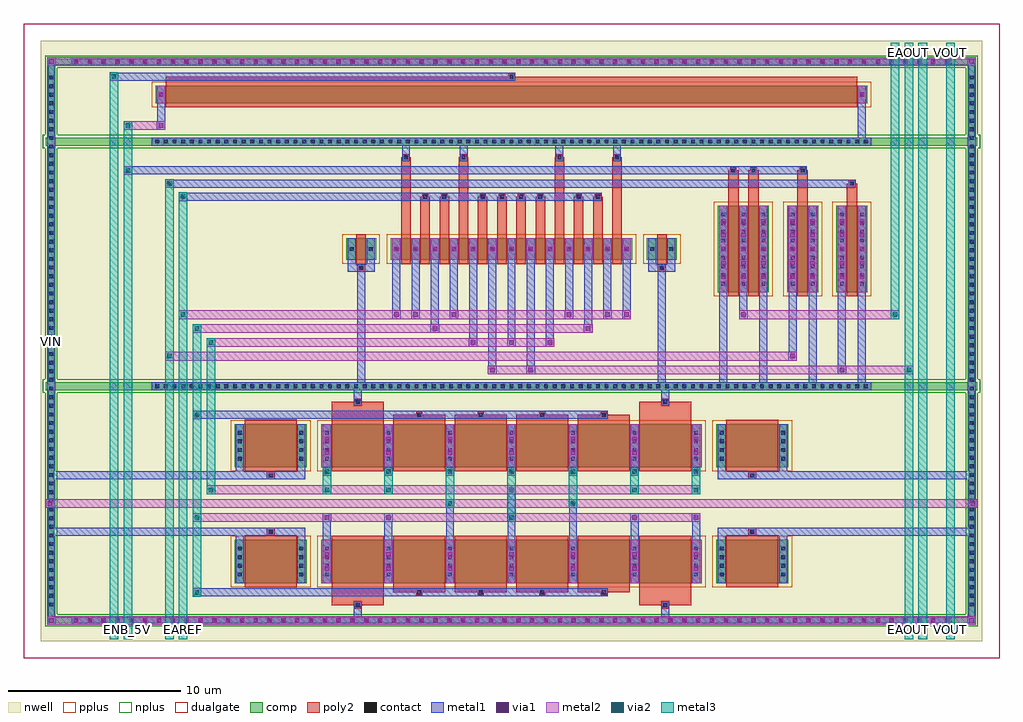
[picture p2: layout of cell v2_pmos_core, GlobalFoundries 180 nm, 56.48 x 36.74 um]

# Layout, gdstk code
import gdstk
lib = gdstk.Library(unit=1e-6, precision=1e-09)
def R(c, l, rs):  # rectangles x0, y0, x1, y1
    for r in rs: c.add(gdstk.rectangle(r[:2], r[2:], *l))
def A(c, l, x, y, w, h, nx, ny, dx, dy):  # array of equal rectangles
    R(c, l, [(x+i*dx, y+j*dy, x+i*dx+w, y+j*dy+h) for i in range(nx) for j in range(ny)])
def P(c, l, *ps):  # polygons
    for p in ps: c.add(gdstk.Polygon(p, *l))
nwell = (21, 0)
comp = (22, 0)
poly2 = (30, 0)
pplus = (31, 0)
nplus = (32, 0)
contact = (33, 0)
metal1 = (34, 0)
via1 = (35, 0)
metal2 = (36, 0)
via2 = (38, 0)
metal3 = (42, 0)
dualgate = (55, 0)

v2_pmos_core = lib.new_cell('v2_pmos_core')
R(v2_pmos_core, nwell, [(-27.24,-1.39,27.24,33.35), (-26.94,-0.485,26.94,32.445)])
A(v2_pmos_core, comp, -25.38, -0.365, 0.36, 0.36, 64, 2, 0.8, 32.33)
A(v2_pmos_core, comp, -26.82, 0.55, 0.36, 0.36, 1, 62, 0, 0.5)
A(v2_pmos_core, comp, 26.46, 0.55, 0.36, 0.36, 1, 62, 0, 0.5)
A(v2_pmos_core, comp, -20.68, 13.19, 0.36, 0.36, 83, 2, 0.5, 14.15)
R(v2_pmos_core, comp, [(-25.38,-0.365,25.38,-0.005), (-26.82,0.55,-26.46,31.41), (26.46,0.55,26.82,31.41), (-16.02,1.97,-11.86,4.47), (-11,1.97,11,4.47), (11.86,1.97,16.02,4.47), (-16.02,8.67,-11.86,11.17), (-11,8.67,11,11.17), (11.86,8.67,16.02,11.17), (-26.96,13.14,26.96,13.6), (-20.83,13.14,20.83,13.6), (-20.68,13.19,20.68,13.55), (11.94,18.8,14.9,23.8), (15.95,18.8,17.75,23.8), (18.8,18.8,20.6,23.8), (-9.55,20.675,-7.84,21.925), (-6.98,20.675,6.98,21.925), (7.84,20.675,9.55,21.925), (-26.96,27.29,26.96,27.75), (-20.83,27.29,20.83,27.75), (-20.68,27.34,20.68,27.7), (-20.6,29.75,20.6,30.75), (-25.38,31.965,25.38,32.325)])
P(v2_pmos_core, comp, [(-26.82,-0.365),(-26.82,-0.005),(-26.46,-0.005),(26.46,-0.005),(26.46,31.965),(-26.46,31.965),(-26.46,-0.005),(-26.82,-0.005),(-26.82,32.325),(26.82,32.325),(26.82,-0.365)])
A(v2_pmos_core, poly2, -5.52, 1.26, 0.36, 0.36, 4, 2, 3.56, 10.26)
A(v2_pmos_core, poly2, -6.84, 1.44, 3, 0.29, 4, 2, 3.56, 9.97)
A(v2_pmos_core, poly2, -10.4, 1.73, 3, 2.98, 6, 2, 3.56, 6.7)
A(v2_pmos_core, poly2, 13.7, 18.56, 0.6, 5.48, 3, 1, 2.85, 0)
A(v2_pmos_core, poly2, -6.38, 20.435, 0.55, 1.73, 12, 1, 1.11, 0)
A(v2_pmos_core, poly2, -1.94, 22.165, 0.55, 2.165, 4, 1, 1.11, 0)
A(v2_pmos_core, poly2, -1.845, 24.15, 0.36, 0.36, 4, 1, 1.11, 0)
R(v2_pmos_core, poly2, [(-9.08,0.5,-8.72,0.86), (8.72,0.5,9.08,0.86), (-10.4,0.68,-7.4,1.73), (7.4,0.68,10.4,1.73), (-15.44,1.73,-12.44,4.71), (12.44,1.73,15.44,4.71), (-14.17,4.71,-13.71,5.17), (13.71,4.71,14.17,5.17), (-14.12,4.76,-13.76,5.12), (13.76,4.76,14.12,5.12), (-14.17,7.97,-13.71,8.43), (13.71,7.97,14.17,8.43), (-14.12,8.02,-13.76,8.38), (13.76,8.02,14.12,8.38), (-15.44,8.43,-12.44,11.41), (12.44,8.43,15.44,11.41), (-10.4,11.41,-7.4,12.46), (7.4,11.41,10.4,12.46), (-9.08,12.28,-8.72,12.64), (8.72,12.28,9.08,12.64), (12.54,18.56,13.14,24.04), (-8.925,19.975,-8.465,20.435), (8.465,19.975,8.925,20.435), (-8.875,20.025,-8.515,20.385), (8.515,20.025,8.875,20.385), (-8.97,20.435,-8.42,22.165), (8.42,20.435,8.97,22.165), (-6.38,22.165,-5.83,26.61), (-5.27,22.165,-4.72,24.33), (-4.16,22.165,-3.61,24.33), (-3.05,22.165,-2.5,26.61), (2.5,22.165,3.05,26.61), (3.61,22.165,4.16,24.33), (4.72,22.165,5.27,24.33), (5.83,22.165,6.38,26.61), (12.54,24.04,13.14,25.85), (13.7,24.04,14.3,25.85), (16.55,24.04,17.15,25.85), (19.4,24.04,20,25.09), (-5.175,24.15,-4.815,24.51), (-4.065,24.15,-3.705,24.51), (3.705,24.15,4.065,24.51), (4.815,24.15,5.175,24.51), (19.52,24.91,19.88,25.27), (12.66,25.67,13.02,26.03), (13.82,25.67,14.18,26.03), (16.67,25.67,17.03,26.03), (-6.285,26.43,-5.925,26.79), (-2.955,26.43,-2.595,26.79), (2.595,26.43,2.955,26.79), (5.925,26.43,6.285,26.79), (-20,29.51,20,30.99), (-20,30.99,20,31.28), (-0.18,31.1,0.18,31.46)])
R(v2_pmos_core, pplus, [(-16.25,1.74,-11.63,4.7), (-11.23,1.74,11.23,4.7), (11.63,1.74,16.25,4.7), (-16.25,8.44,-11.63,11.4), (-11.23,8.44,11.23,11.4), (11.63,8.44,16.25,11.4), (11.71,18.57,15.13,24.03), (15.72,18.57,17.98,24.03), (18.57,18.57,20.83,24.03), (-9.78,20.445,-7.61,22.155), (-7.21,20.445,7.21,22.155), (7.61,20.445,9.78,22.155), (-20.83,29.52,20.83,30.98)])
R(v2_pmos_core, nplus, [(-27.12,12.98,27.12,13.76), (-20.99,12.98,20.99,13.76), (-27.12,27.13,27.12,27.91), (-20.99,27.13,20.99,27.91)])
P(v2_pmos_core, nplus, [(-26.98,-0.525),(-26.98,0.155),(-26.3,0.155),(26.3,0.155),(26.3,31.805),(-26.3,31.805),(-26.3,0.155),(-26.98,0.155),(-26.98,32.485),(26.98,32.485),(26.98,-0.525)])
A(v2_pmos_core, contact, -25.31, -0.295, 0.22, 0.22, 64, 2, 0.8, 32.33)
A(v2_pmos_core, contact, -26.75, 0.62, 0.22, 0.22, 1, 62, 0, 0.5)
A(v2_pmos_core, contact, 26.53, 0.62, 0.22, 0.22, 1, 62, 0, 0.5)
A(v2_pmos_core, contact, -5.45, 1.33, 0.22, 0.22, 4, 2, 3.56, 10.26)
A(v2_pmos_core, contact, -15.83, 2.36, 0.22, 0.22, 1, 4, 0, 0.5)
A(v2_pmos_core, contact, -12.27, 2.36, 0.22, 0.22, 1, 4, 0, 0.5)
A(v2_pmos_core, contact, -10.79, 2.36, 0.22, 0.22, 7, 4, 3.56, 0.5)
A(v2_pmos_core, contact, 12.05, 2.36, 0.22, 0.22, 1, 4, 0, 0.5)
A(v2_pmos_core, contact, 15.61, 2.36, 0.22, 0.22, 1, 4, 0, 0.5)
A(v2_pmos_core, contact, -15.83, 9.06, 0.22, 0.22, 1, 4, 0, 0.5)
A(v2_pmos_core, contact, -12.27, 9.06, 0.22, 0.22, 1, 4, 0, 0.5)
A(v2_pmos_core, contact, -10.79, 9.06, 0.22, 0.22, 7, 4, 3.56, 0.5)
A(v2_pmos_core, contact, 12.05, 9.06, 0.22, 0.22, 1, 4, 0, 0.5)
A(v2_pmos_core, contact, 15.61, 9.06, 0.22, 0.22, 1, 4, 0, 0.5)
A(v2_pmos_core, contact, -20.61, 13.26, 0.22, 0.22, 83, 2, 0.5, 14.15)
A(v2_pmos_core, contact, 12.15, 19.19, 0.22, 0.22, 3, 9, 1.16, 0.5)
A(v2_pmos_core, contact, 16.16, 19.19, 0.22, 0.22, 1, 9, 0, 0.5)
A(v2_pmos_core, contact, 17.32, 19.19, 0.22, 0.22, 1, 9, 0, 0.5)
A(v2_pmos_core, contact, 19.01, 19.19, 0.22, 0.22, 1, 9, 0, 0.5)
A(v2_pmos_core, contact, 20.17, 19.19, 0.22, 0.22, 1, 9, 0, 0.5)
A(v2_pmos_core, contact, -6.77, 21.19, 0.22, 0.22, 13, 1, 1.11, 0)
A(v2_pmos_core, contact, -1.775, 24.22, 0.22, 0.22, 4, 1, 1.11, 0)
R(v2_pmos_core, contact, [(-9.01,0.57,-8.79,0.79), (8.79,0.57,9.01,0.79), (-14.05,4.83,-13.83,5.05), (13.83,4.83,14.05,5.05), (-14.05,8.09,-13.83,8.31), (13.83,8.09,14.05,8.31), (-9.01,12.35,-8.79,12.57), (8.79,12.35,9.01,12.57), (-8.805,20.095,-8.585,20.315), (8.585,20.095,8.805,20.315), (-9.36,21.19,-9.14,21.41), (-8.25,21.19,-8.03,21.41), (8.03,21.19,8.25,21.41), (9.14,21.19,9.36,21.41), (-5.105,24.22,-4.885,24.44), (-3.995,24.22,-3.775,24.44), (3.775,24.22,3.995,24.44), (4.885,24.22,5.105,24.44), (19.59,24.98,19.81,25.2), (12.73,25.74,12.95,25.96), (13.89,25.74,14.11,25.96), (16.74,25.74,16.96,25.96), (-6.215,26.5,-5.995,26.72), (-2.885,26.5,-2.665,26.72), (2.665,26.5,2.885,26.72), (5.995,26.5,6.215,26.72), (-20.39,30.14,-20.17,30.36), (20.17,30.14,20.39,30.36), (-0.11,31.17,0.11,31.39)])
A(v2_pmos_core, metal1, -25.45, -0.435, 0.5, 0.5, 64, 2, 0.8, 32.33)
A(v2_pmos_core, metal1, -26.87, 0.5, 0.46, 0.46, 1, 62, 0, 0.5)
A(v2_pmos_core, metal1, 26.41, 0.5, 0.46, 0.46, 1, 62, 0, 0.5)
A(v2_pmos_core, metal1, -5.57, 1.21, 0.46, 0.46, 4, 2, 3.56, 10.26)
A(v2_pmos_core, metal1, -10.91, 1.97, 0.46, 2.5, 7, 2, 3.56, 6.7)
A(v2_pmos_core, metal1, -15.95, 2.24, 0.46, 0.46, 1, 4, 0, 0.5)
A(v2_pmos_core, metal1, -12.39, 2.24, 0.46, 0.46, 1, 4, 0, 0.5)
A(v2_pmos_core, metal1, -10.91, 2.24, 0.46, 0.46, 7, 4, 3.56, 0.5)
A(v2_pmos_core, metal1, 11.93, 2.24, 0.46, 0.46, 1, 4, 0, 0.5)
A(v2_pmos_core, metal1, 15.49, 2.24, 0.46, 0.46, 1, 4, 0, 0.5)
A(v2_pmos_core, metal1, -10.93, 2.57, 0.5, 0.5, 7, 2, 3.56, 0.8)
A(v2_pmos_core, metal1, -10.93, 2.57, 0.5, 1.3, 7, 2, 3.56, 6.7)
A(v2_pmos_core, metal1, -10.93, 8.17, 0.5, 0.5, 7, 2, 3.56, 1.1)
A(v2_pmos_core, metal1, -15.95, 8.94, 0.46, 0.46, 1, 4, 0, 0.5)
A(v2_pmos_core, metal1, -12.39, 8.94, 0.46, 0.46, 1, 4, 0, 0.5)
A(v2_pmos_core, metal1, -10.91, 8.94, 0.46, 0.46, 7, 4, 3.56, 0.5)
A(v2_pmos_core, metal1, 11.93, 8.94, 0.46, 0.46, 1, 4, 0, 0.5)
A(v2_pmos_core, metal1, 15.49, 8.94, 0.46, 0.46, 1, 4, 0, 0.5)
A(v2_pmos_core, metal1, -10.93, 10.07, 0.5, 0.5, 7, 1, 3.56, 0)
A(v2_pmos_core, metal1, -20.73, 13.14, 0.46, 0.46, 83, 2, 0.5, 14.15)
A(v2_pmos_core, metal1, 14.35, 13.37, 0.46, 5.43, 3, 1, 2.85, 0)
A(v2_pmos_core, metal1, -2.47, 15.65, 0.5, 0.5, 3, 1, 2.22, 0)
A(v2_pmos_core, metal1, -2.45, 15.9, 0.46, 4.775, 3, 1, 2.22, 0)
A(v2_pmos_core, metal1, 12.03, 18.8, 0.46, 5, 3, 1, 1.16, 0)
A(v2_pmos_core, metal1, 12.03, 19.07, 0.46, 0.46, 3, 9, 1.16, 0.5)
A(v2_pmos_core, metal1, 16.04, 19.07, 0.46, 0.46, 1, 9, 0, 0.5)
A(v2_pmos_core, metal1, 17.2, 19.07, 0.46, 0.46, 1, 9, 0, 0.5)
A(v2_pmos_core, metal1, 18.89, 19.07, 0.46, 0.46, 1, 9, 0, 0.5)
A(v2_pmos_core, metal1, 20.05, 19.07, 0.46, 0.46, 1, 9, 0, 0.5)
A(v2_pmos_core, metal1, 12.01, 19.45, 0.5, 0.5, 3, 5, 1.16, 0.8)
A(v2_pmos_core, metal1, 12.01, 19.45, 0.5, 3.7, 3, 1, 1.16, 0)
A(v2_pmos_core, metal1, 16.02, 19.45, 0.5, 0.5, 1, 5, 0, 0.8)
A(v2_pmos_core, metal1, 17.18, 19.45, 0.5, 0.5, 1, 5, 0, 0.8)
A(v2_pmos_core, metal1, 18.87, 19.45, 0.5, 0.5, 1, 5, 0, 0.8)
A(v2_pmos_core, metal1, 20.03, 19.45, 0.5, 0.5, 1, 5, 0, 0.8)
A(v2_pmos_core, metal1, -6.89, 20.675, 0.46, 1.25, 13, 1, 1.11, 0)
A(v2_pmos_core, metal1, -6.89, 21.07, 0.46, 0.46, 13, 1, 1.11, 0)
A(v2_pmos_core, metal1, -1.895, 24.1, 0.46, 0.46, 4, 1, 1.11, 0)
R(v2_pmos_core, metal1, [(-26.87,-0.435,-26.37,0.065), (-26.87,-0.435,-26.37,0.065), (-26.87,-0.435,-26.41,-0.005), (-25.45,-0.435,25.45,0.065), (26.37,-0.435,26.87,0.065), (26.37,-0.435,26.87,0.065), (26.41,-0.435,26.87,-0.005), (-9.13,-0.25,-8.67,0.68), (8.67,-0.25,9.13,0.68), (-26.87,-0.005,-26.41,31.965), (26.41,-0.005,26.87,31.965), (-9.13,0.45,-8.67,0.91), (8.67,0.45,9.13,0.91), (-18.45,1.19,-17.95,1.69), (-18.43,1.21,5.57,1.67), (-15.95,1.97,-15.49,4.47), (-12.39,1.97,-11.93,4.47), (11.93,1.97,12.39,4.47), (15.49,1.97,15.95,4.47), (-15.95,4.47,-15.49,5.17), (-12.39,4.47,-11.93,5.17), (-10.91,4.47,-10.45,5.77), (-7.35,4.47,-6.89,5.77), (-3.79,4.47,-3.33,6.57), (-0.23,4.47,0.23,7.37), (3.33,4.47,3.79,6.57), (6.89,4.47,7.35,5.77), (10.45,4.47,10.91,5.77), (11.93,4.47,12.39,5.17), (15.49,4.47,15.95,5.17), (-26.71,4.71,-13.71,5.17), (-15.95,4.71,-14.17,5.17), (-14.17,4.71,-13.71,5.17), (-13.71,4.71,-11.93,5.17), (11.93,4.71,13.71,5.17), (13.71,4.71,14.17,5.17), (13.71,4.71,26.71,5.17), (14.17,4.71,15.95,5.17), (-10.93,5.52,-10.43,6.02), (-7.37,5.52,-6.87,6.02), (6.87,5.52,7.37,6.02), (10.43,5.52,10.93,6.02), (-26.96,6.32,-26.46,6.82), (-3.81,6.32,-3.31,6.82), (3.31,6.32,3.81,6.82), (26.46,6.32,26.96,6.82), (-0.25,7.12,0.25,7.62), (-26.71,7.97,-13.71,8.43), (-15.95,7.97,-15.49,8.67), (-15.95,7.97,-14.17,8.43), (-14.17,7.97,-13.71,8.43), (-13.71,7.97,-11.93,8.43), (-12.39,7.97,-11.93,8.67), (11.93,7.97,12.39,8.67), (11.93,7.97,13.71,8.43), (13.71,7.97,14.17,8.43), (13.71,7.97,26.71,8.43), (14.17,7.97,15.95,8.43), (15.49,7.97,15.95,8.67), (-15.95,8.67,-15.49,11.17), (-12.39,8.67,-11.93,11.17), (11.93,8.67,12.39,11.17), (15.49,8.67,15.95,11.17), (-18.45,11.45,-17.95,11.95), (-18.43,11.47,5.57,11.93), (-9.13,12.23,-8.67,12.69), (8.67,12.23,9.13,12.69), (-9.13,12.46,-8.67,13.37), (8.67,12.46,9.13,13.37), (-20.83,13.14,20.83,13.6), (-8.925,13.37,-8.465,19.975), (8.465,13.37,8.925,19.975), (12.03,13.37,12.49,18.8), (-1.36,14.05,-0.86,14.55), (0.86,14.05,1.36,14.55), (18.87,14.05,19.37,14.55), (-1.34,14.3,-0.88,20.675), (0.88,14.3,1.34,20.675), (18.89,14.3,19.35,18.8), (16.02,14.85,16.52,15.35), (16.04,15.1,16.5,18.8), (-4.69,16.45,-4.19,16.95), (4.19,16.45,4.69,16.95), (-4.67,16.7,-4.21,20.675), (4.21,16.7,4.67,20.675), (-6.91,17.25,-6.41,17.75), (-5.8,17.25,-5.3,17.75), (-3.58,17.25,-3.08,17.75), (3.08,17.25,3.58,17.75), (5.3,17.25,5.8,17.75), (6.41,17.25,6.91,17.75), (13.17,17.25,13.67,17.75), (-6.89,17.5,-6.43,20.675), (-5.78,17.5,-5.32,20.675), (-3.56,17.5,-3.1,20.675), (3.1,17.5,3.56,20.675), (5.32,17.5,5.78,20.675), (6.43,17.5,6.89,20.675), (13.19,17.5,13.65,18.8), (16.04,18.8,16.5,23.8), (17.2,18.8,17.66,23.8), (18.89,18.8,19.35,23.8), (20.05,18.8,20.51,23.8), (16.02,19.45,16.52,23.15), (17.18,19.45,17.68,23.15), (18.87,19.45,19.37,23.15), (20.03,19.45,20.53,23.15), (-9.48,19.975,-8.925,20.435), (-9.48,19.975,-9.02,20.675), (-8.925,19.975,-8.465,20.435), (-8.465,19.975,-7.91,20.435), (-8.37,19.975,-7.91,20.675), (7.91,19.975,8.465,20.435), (7.91,19.975,8.37,20.675), (8.465,19.975,8.925,20.435), (8.925,19.975,9.48,20.435), (9.02,19.975,9.48,20.675), (-9.48,20.675,-9.02,21.925), (-8.37,20.675,-7.91,21.925), (7.91,20.675,8.37,21.925), (9.02,20.675,9.48,21.925), (-6.91,21.05,-6.41,21.55), (-6.91,21.05,-6.41,21.55), (-5.8,21.05,-5.3,21.55), (-5.8,21.05,-5.3,21.55), (-4.69,21.05,-4.19,21.55), (-4.69,21.05,-4.19,21.55), (-3.58,21.05,-3.08,21.55), (-3.58,21.05,-3.08,21.55), (-2.47,21.05,-1.97,21.55), (-2.47,21.05,-1.97,21.55), (-1.36,21.05,-0.86,21.55), (-1.36,21.05,-0.86,21.55), (-0.25,21.05,0.25,21.55), (-0.25,21.05,0.25,21.55), (0.86,21.05,1.36,21.55), (0.86,21.05,1.36,21.55), (1.97,21.05,2.47,21.55), (1.97,21.05,2.47,21.55), (3.08,21.05,3.58,21.55), (3.08,21.05,3.58,21.55), (4.19,21.05,4.69,21.55), (4.19,21.05,4.69,21.55), (5.3,21.05,5.8,21.55), (5.3,21.05,5.8,21.55), (6.41,21.05,6.91,21.55), (6.41,21.05,6.91,21.55), (-9.48,21.07,-9.02,21.53), (-8.37,21.07,-7.91,21.53), (7.91,21.07,8.37,21.53), (9.02,21.07,9.48,21.53), (-19.25,24.08,-18.75,24.58), (-19.23,24.1,5.225,24.56), (-5.225,24.1,-4.765,24.56), (-4.115,24.1,-3.655,24.56), (3.655,24.1,4.115,24.56), (4.765,24.1,5.225,24.56), (-20.05,24.84,-19.55,25.34), (-20.03,24.86,19.93,25.32), (19.47,24.86,19.93,25.32), (-22.45,25.6,-21.95,26.1), (-22.43,25.62,17.08,26.08), (12.61,25.62,13.07,26.08), (13.77,25.62,14.23,26.08), (16.62,25.62,17.08,26.08), (-6.335,26.38,-5.875,26.84), (-3.005,26.38,-2.545,26.84), (2.545,26.38,3.005,26.84), (5.875,26.38,6.335,26.84), (-6.335,26.61,-5.875,27.52), (-3.005,26.61,-2.545,27.52), (2.545,26.61,3.005,27.52), (5.875,26.61,6.335,27.52), (-20.83,27.29,20.83,27.75), (20.05,27.52,20.51,29.75), (-20.53,28.2,-20.03,28.7), (-20.51,28.45,-20.05,29.75), (-20.51,29.75,-20.05,30.75), (20.05,29.75,20.51,30.75), (-20.53,30,-20.03,30.5), (-20.53,30,-20.03,30.5), (20.03,30,20.53,30.5), (20.03,30,20.53,30.5), (-20.51,30.02,-20.05,30.48), (20.05,30.02,20.51,30.48), (-23.25,31.03,-22.75,31.53), (-23.23,31.05,0.23,31.51), (-0.23,31.05,0.23,31.51), (-26.87,31.895,-26.37,32.395), (-26.87,31.895,-26.37,32.395), (-25.45,31.895,25.45,32.395), (26.37,31.895,26.87,32.395), (26.37,31.895,26.87,32.395), (-26.87,31.965,-26.41,32.395), (26.41,31.965,26.87,32.395)])
A(v2_pmos_core, via1, -25.33, -0.315, 0.26, 0.26, 64, 2, 0.8, 32.33)
A(v2_pmos_core, via1, -10.81, 2.69, 0.26, 0.26, 7, 2, 3.56, 0.8)
A(v2_pmos_core, via1, -10.81, 8.29, 0.26, 0.26, 7, 2, 3.56, 1.1)
A(v2_pmos_core, via1, -10.81, 10.19, 0.26, 0.26, 7, 1, 3.56, 0)
A(v2_pmos_core, via1, -2.35, 15.77, 0.26, 0.26, 3, 1, 2.22, 0)
A(v2_pmos_core, via1, 12.13, 19.57, 0.26, 0.26, 3, 5, 1.16, 0.8)
A(v2_pmos_core, via1, 16.14, 19.57, 0.26, 0.26, 1, 5, 0, 0.8)
A(v2_pmos_core, via1, 17.3, 19.57, 0.26, 0.26, 1, 5, 0, 0.8)
A(v2_pmos_core, via1, 18.99, 19.57, 0.26, 0.26, 1, 5, 0, 0.8)
A(v2_pmos_core, via1, 20.15, 19.57, 0.26, 0.26, 1, 5, 0, 0.8)
A(v2_pmos_core, via1, -6.79, 21.17, 0.26, 0.26, 13, 1, 1.11, 0)
R(v2_pmos_core, via1, [(-26.75,-0.315,-26.49,-0.055), (26.49,-0.315,26.75,-0.055), (-18.33,1.31,-18.07,1.57), (-10.81,5.64,-10.55,5.9), (-7.25,5.64,-6.99,5.9), (6.99,5.64,7.25,5.9), (10.55,5.64,10.81,5.9), (-26.84,6.44,-26.58,6.7), (-3.69,6.44,-3.43,6.7), (3.43,6.44,3.69,6.7), (26.58,6.44,26.84,6.7), (-0.13,7.24,0.13,7.5), (-18.33,11.57,-18.07,11.83), (-1.24,14.17,-0.98,14.43), (0.98,14.17,1.24,14.43), (18.99,14.17,19.25,14.43), (16.14,14.97,16.4,15.23), (-4.57,16.57,-4.31,16.83), (4.31,16.57,4.57,16.83), (-6.79,17.37,-6.53,17.63), (-5.68,17.37,-5.42,17.63), (-3.46,17.37,-3.2,17.63), (3.2,17.37,3.46,17.63), (5.42,17.37,5.68,17.63), (6.53,17.37,6.79,17.63), (13.29,17.37,13.55,17.63), (-19.13,24.2,-18.87,24.46), (-19.93,24.96,-19.67,25.22), (-22.33,25.72,-22.07,25.98), (-20.41,28.32,-20.15,28.58), (-20.41,30.12,-20.15,30.38), (20.15,30.12,20.41,30.38), (-23.13,31.15,-22.87,31.41), (-26.75,32.015,-26.49,32.275), (26.49,32.015,26.75,32.275)])
A(v2_pmos_core, metal2, -25.45, -0.435, 0.5, 0.5, 64, 2, 0.8, 32.33)
A(v2_pmos_core, metal2, -10.93, 1.97, 0.5, 2.5, 7, 2, 3.56, 6.7)
A(v2_pmos_core, metal2, -10.93, 2.57, 0.5, 0.5, 7, 2, 3.56, 0.8)
A(v2_pmos_core, metal2, -7.37, 5.52, 0.5, 0.5, 3, 2, 7.12, 1.6)
A(v2_pmos_core, metal2, -10.93, 8.17, 0.5, 0.5, 7, 2, 3.56, 1.1)
A(v2_pmos_core, metal2, -10.93, 10.07, 0.5, 0.5, 7, 1, 3.56, 0)
A(v2_pmos_core, metal2, -2.47, 15.65, 0.5, 0.5, 3, 1, 2.22, 0)
A(v2_pmos_core, metal2, 12.01, 18.8, 0.5, 5, 3, 1, 1.16, 0)
A(v2_pmos_core, metal2, 12.01, 19.45, 0.5, 0.5, 3, 5, 1.16, 0.8)
A(v2_pmos_core, metal2, 16.02, 19.45, 0.5, 0.5, 1, 5, 0, 0.8)
A(v2_pmos_core, metal2, 17.18, 19.45, 0.5, 0.5, 1, 5, 0, 0.8)
A(v2_pmos_core, metal2, 18.87, 19.45, 0.5, 0.5, 1, 5, 0, 0.8)
A(v2_pmos_core, metal2, 20.03, 19.45, 0.5, 0.5, 1, 5, 0, 0.8)
A(v2_pmos_core, metal2, -6.91, 20.675, 0.5, 1.25, 13, 1, 1.11, 0)
A(v2_pmos_core, metal2, -6.91, 21.05, 0.5, 0.5, 13, 1, 1.11, 0)
R(v2_pmos_core, metal2, [(-26.87,-0.435,-26.37,0.065), (-26.87,-0.435,-26.37,0.065), (-26.87,-0.435,-26.46,0.065), (-26.46,-0.435,26.46,0.065), (26.37,-0.435,26.87,0.065), (26.37,-0.435,26.87,0.065), (26.46,-0.435,26.87,0.065), (-18.45,1.19,-17.95,1.69), (-18.45,5.52,10.93,6.02), (-18.45,5.52,-17.95,6.02), (-10.93,5.52,-10.43,6.02), (10.43,5.52,10.93,6.02), (-26.96,6.32,26.96,6.82), (-26.96,6.32,-26.46,6.82), (-3.81,6.32,-3.31,6.82), (-3.81,6.32,-3.31,6.82), (3.31,6.32,3.81,6.82), (3.31,6.32,3.81,6.82), (26.46,6.32,26.96,6.82), (-17.65,7.12,10.93,7.62), (-17.65,7.12,-17.15,7.62), (-10.93,7.12,-10.43,7.62), (10.43,7.12,10.93,7.62), (-18.45,11.45,-17.95,11.95), (-1.36,14.05,23.25,14.55), (-1.36,14.05,-0.86,14.55), (0.86,14.05,1.36,14.55), (18.87,14.05,19.37,14.55), (22.75,14.05,23.25,14.55), (-20.05,14.85,16.52,15.35), (-20.05,14.85,-19.55,15.35), (16.02,14.85,16.52,15.35), (-17.65,15.65,2.47,16.15), (-17.65,15.65,-17.15,16.15), (-18.45,16.45,4.69,16.95), (-18.45,16.45,-17.95,16.95), (-4.69,16.45,-4.19,16.95), (4.19,16.45,4.69,16.95), (-19.25,17.25,6.91,17.75), (-19.25,17.25,-18.75,17.75), (-6.91,17.25,-6.41,17.75), (-5.8,17.25,-5.3,17.75), (-3.58,17.25,-3.08,17.75), (3.08,17.25,3.58,17.75), (5.3,17.25,5.8,17.75), (6.41,17.25,6.91,17.75), (13.17,17.25,13.67,17.75), (13.17,17.25,22.45,17.75), (21.95,17.25,22.45,17.75), (16.02,18.8,16.52,23.8), (17.18,18.8,17.68,23.8), (18.87,18.8,19.37,23.8), (20.03,18.8,20.53,23.8), (-19.25,24.08,-18.75,24.58), (-20.05,24.84,-19.55,25.34), (-22.45,25.6,-21.95,26.1), (-22.45,28.2,-21.95,28.7), (-22.45,28.2,-20.03,28.7), (-20.53,28.2,-20.03,28.7), (-20.53,29.75,-20.03,30.75), (20.03,29.75,20.53,30.75), (-20.53,30,-20.03,30.5), (20.03,30,20.53,30.5), (-23.25,31.03,-22.75,31.53), (-26.87,31.895,-26.37,32.395), (-26.87,31.895,-26.37,32.395), (-26.87,31.895,-26.46,32.395), (-26.46,31.895,26.46,32.395), (26.37,31.895,26.87,32.395), (26.37,31.895,26.87,32.395), (26.46,31.895,26.87,32.395)])
A(v2_pmos_core, via2, -10.81, 8.29, 0.26, 0.26, 7, 1, 3.56, 0)
R(v2_pmos_core, via2, [(-18.33,1.31,-18.07,1.57), (-18.33,5.64,-18.07,5.9), (-0.13,5.64,0.13,5.9), (-3.69,6.44,-3.43,6.7), (3.43,6.44,3.69,6.7), (-17.53,7.24,-17.27,7.5), (-10.81,7.24,-10.55,7.5), (-7.25,7.24,-6.99,7.5), (6.99,7.24,7.25,7.5), (10.55,7.24,10.81,7.5), (-18.33,11.57,-18.07,11.83), (22.87,14.17,23.13,14.43), (-19.93,14.97,-19.67,15.23), (-17.53,15.77,-17.27,16.03), (-18.33,16.57,-18.07,16.83), (-19.13,17.37,-18.87,17.63), (22.07,17.37,22.33,17.63), (-19.13,24.2,-18.87,24.46), (-19.93,24.96,-19.67,25.22), (-22.33,25.72,-22.07,25.98), (-22.33,28.32,-22.07,28.58), (-23.13,31.15,-22.87,31.41)])
A(v2_pmos_core, metal3, -10.93, 8.17, 0.5, 0.5, 7, 1, 3.56, 0)
R(v2_pmos_core, metal3, [(-23.25,-1.27,-22.75,31.53), (-22.45,-1.27,-21.95,28.7), (-20.05,-1.27,-19.55,25.34), (-19.25,-1.27,-18.75,24.58), (22.75,-1.27,23.25,33.23), (23.55,-1.27,24.05,33.23), (25.15,-1.27,25.65,33.23), (-18.45,1.19,-17.95,16.95), (-18.45,1.19,-17.95,1.69), (-18.45,5.52,-17.95,6.02), (-0.25,5.52,0.25,6.02), (-0.25,5.77,0.25,8.42), (-3.81,6.32,-3.31,6.82), (3.31,6.32,3.81,6.82), (-3.81,6.57,-3.31,8.42), (3.31,6.57,3.81,8.42), (-17.65,7.12,-17.15,16.15), (-17.65,7.12,-17.15,7.62), (-10.93,7.12,-10.43,7.62), (-7.37,7.12,-6.87,7.62), (6.87,7.12,7.37,7.62), (10.43,7.12,10.93,7.62), (-10.93,7.37,-10.43,8.42), (-7.37,7.37,-6.87,8.42), (6.87,7.37,7.37,8.42), (10.43,7.37,10.93,8.42), (-18.45,11.45,-17.95,11.95), (22.75,14.05,23.25,14.55), (-20.05,14.85,-19.55,15.35), (-17.65,15.65,-17.15,16.15), (-18.45,16.45,-17.95,16.95), (-19.25,17.25,-18.75,17.75), (21.95,17.25,22.45,33.23), (21.95,17.25,22.45,17.75), (-19.25,24.08,-18.75,24.58), (-20.05,24.84,-19.55,25.34), (-22.45,25.6,-21.95,26.1), (-22.45,28.2,-21.95,28.7), (-23.25,31.03,-22.75,31.53)])
R(v2_pmos_core, dualgate, [(-28.24,-2.39,28.24,34.35)])
v2_pmos_core.add(gdstk.Label('EAOUT', (23,-0.72), layer=42, texttype=10))
v2_pmos_core.add(gdstk.Label('EAOUT', (23,32.68), layer=42, texttype=10))
v2_pmos_core.add(gdstk.Label('EAREF', (-19,-0.72), layer=42, texttype=10))
v2_pmos_core.add(gdstk.Label('ENB_5V', (-22.2,-0.72), layer=42, texttype=10))
v2_pmos_core.add(gdstk.Label('EN_5V', (-19.8,-0.72), layer=42, texttype=10))
v2_pmos_core.add(gdstk.Label('VIN_BIAS', (22.2,32.68), layer=42, texttype=10))
v2_pmos_core.add(gdstk.Label('VOUT', (25.4,-0.72), layer=42, texttype=10))
v2_pmos_core.add(gdstk.Label('VOUT', (25.4,32.68), layer=42, texttype=10))
v2_pmos_core.add(gdstk.Label('VREF', (23.8,-0.72), layer=42, texttype=10))
v2_pmos_core.add(gdstk.Label('VREF', (23.8,32.68), layer=42, texttype=10))
v2_pmos_core.add(gdstk.Label('VSS', (-23,-0.72), layer=42, texttype=10))
v2_pmos_core.add(gdstk.Label('VIN', (-26.61,15.98), layer=34, texttype=10))

lib.write_gds('v2_pmos_core.gds')
